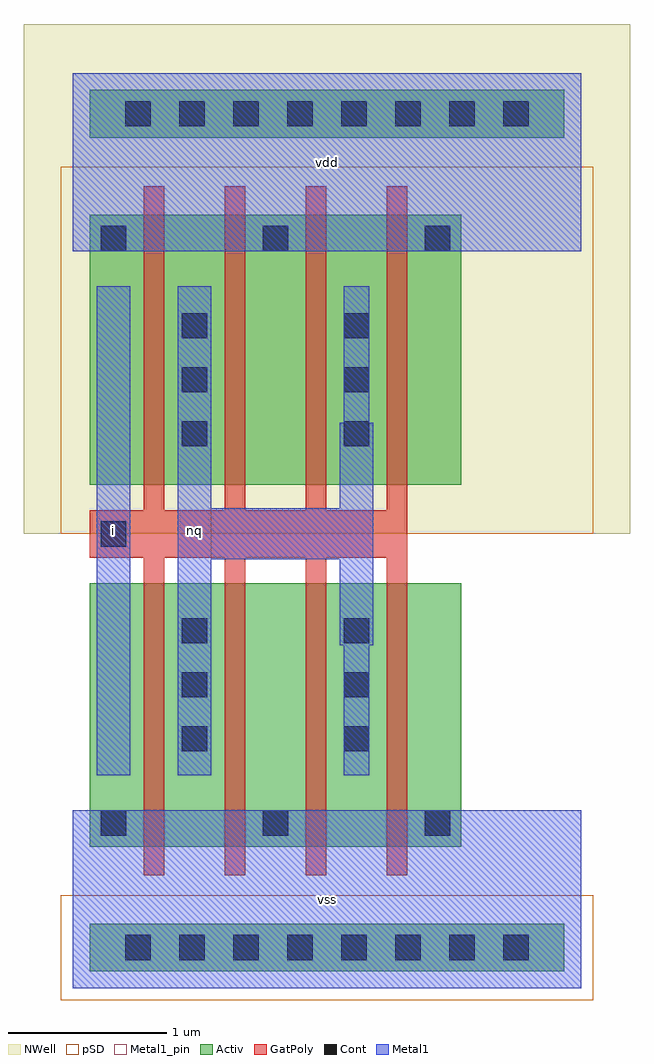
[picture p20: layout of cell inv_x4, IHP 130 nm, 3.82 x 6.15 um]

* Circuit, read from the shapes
.subckt inv_x4 i nq vdd vss
XM1 nq i vss vss sg13_lv_nmos w=1.66u l=0.13u m=4
XM2 nq i vdd vdd sg13_lv_pmos w=1.7u l=0.13u m=4
.ends

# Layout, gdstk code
import gdstk
lib = gdstk.Library(unit=1e-6, precision=1e-09)
def R(c, l, rs):  # rectangles x0, y0, x1, y1
    for r in rs: c.add(gdstk.rectangle(r[:2], r[2:], *l))
def A(c, l, x, y, w, h, nx, ny, dx, dy):  # array of equal rectangles
    R(c, l, [(x+i*dx, y+j*dy, x+i*dx+w, y+j*dy+h) for i in range(nx) for j in range(ny)])
def P(c, l, *ps):  # polygons
    for p in ps: c.add(gdstk.Polygon(p, *l))
Activ = (1, 0)
GatPoly = (5, 0)
Cont = (6, 0)
Metal1 = (8, 0)
Metal1_pin = (8, 2)
pSD = (14, 0)
NWell = (31, 0)

inv_x4 = lib.new_cell('inv_x4')
R(inv_x4, Activ, [(0.105,0.105,3.095,0.405), (0.105,0.89,2.445,2.55), (0.105,3.17,2.445,4.87), (0.105,5.355,3.095,5.655)])
P(inv_x4, GatPoly, [(0.445,0.71),(0.445,2.71),(0.105,2.71),(0.105,3.01),(0.445,3.01),(0.445,5.05),(0.575,5.05),(0.575,3.01),(0.955,3.01),(0.955,5.05),(1.085,5.05),(1.085,3.01),(1.465,3.01),(1.465,5.05),(1.595,5.05),(1.595,3.01),(1.975,3.01),(1.975,5.05),(2.105,5.05),(2.105,0.71),(1.975,0.71),(1.975,2.71),(1.595,2.71),(1.595,0.71),(1.465,0.71),(1.465,2.71),(1.085,2.71),(1.085,0.71),(0.955,0.71),(0.955,2.71),(0.575,2.71),(0.575,0.71)])
A(inv_x4, Cont, 0.33, 0.175, 0.16, 0.16, 8, 2, 0.34, 5.25)
A(inv_x4, Cont, 0.175, 0.96, 0.16, 0.16, 3, 2, 1.02, 3.68)
A(inv_x4, Cont, 0.685, 1.49, 0.16, 0.16, 1, 3, 0, 0.34)
A(inv_x4, Cont, 1.705, 1.49, 0.16, 0.16, 1, 3, 0, 0.34)
A(inv_x4, Cont, 0.685, 3.41, 0.16, 0.16, 1, 3, 0, 0.34)
A(inv_x4, Cont, 1.705, 3.41, 0.16, 0.16, 1, 3, 0, 0.34)
R(inv_x4, Cont, [(0.175,2.78,0.335,2.94)])
R(inv_x4, Metal1, [(0,0,3.2,1.12), (0.15,1.34,0.36,4.42), (0,4.64,3.2,5.76)])
P(inv_x4, Metal1, [(0.66,1.34),(0.66,4.42),(0.87,4.42),(0.87,3.02),(1.68,3.02),(1.68,3.56),(1.705,3.56),(1.705,4.42),(1.865,4.42),(1.865,3.56),(1.89,3.56),(1.89,2.16),(1.865,2.16),(1.865,1.34),(1.705,1.34),(1.705,2.16),(1.68,2.16),(1.68,2.7),(0.87,2.7),(0.87,1.34)])
R(inv_x4, Metal1_pin, [(0,0,3.2,1.12), (0.15,1.34,0.36,4.42), (0.66,1.34,0.87,4.42), (0,4.64,3.2,5.76)])
R(inv_x4, pSD, [(-0.075,-0.075,3.275,0.585), (-0.075,2.86,3.275,5.17)])
R(inv_x4, NWell, [(-0.31,2.86,3.51,6.07)])
inv_x4.add(gdstk.Label('vss', (1.6,0.56), layer=8, texttype=2))
inv_x4.add(gdstk.Label('vdd', (1.6,5.2), layer=8, texttype=2))
inv_x4.add(gdstk.Label('nq', (0.765,2.88), layer=8, texttype=2))
inv_x4.add(gdstk.Label('i', (0.255,2.88), layer=8, texttype=2))

lib.write_gds('inv_x4.gds')
